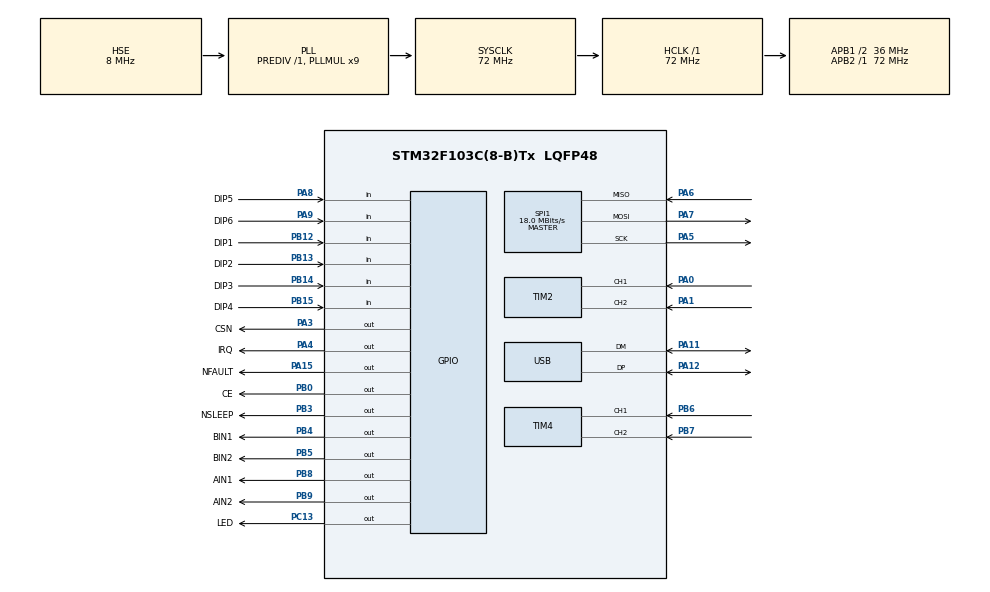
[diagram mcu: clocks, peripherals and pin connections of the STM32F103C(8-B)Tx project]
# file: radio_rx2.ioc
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Mcu.Family=STM32F1
Mcu.Name=STM32F103C(8-B)Tx
Mcu.Package=LQFP48
NVIC.PriorityGroup=NVIC_PRIORITYGROUP_4
NVIC.TIM2_IRQn=true\:0\:0\:false\:false\:true\:true\:true\:true
NVIC.TIM4_IRQn=true\:0\:0\:false\:false\:true\:true\:true\:true
NVIC.USB_LP_CAN1_RX0_IRQn=true\:0\:0\:false\:false\:true\:false\:true\:true
PA0-WKUP.Signal=S_TIM2_CH1_ETR
PA1.Signal=S_TIM2_CH2
PA11.Mode=Device
PA11.Signal=USB_DM
PA12.Mode=Device
PA12.Signal=USB_DP
PA15.GPIO_Label=NFAULT
PA15.Signal=GPIO_Output
PA3.GPIO_Label=CSN
PA3.Signal=GPIO_Output
PA4.GPIO_Label=IRQ
PA4.Signal=GPIO_Output
PA5.Mode=Full_Duplex_Master
PA5.Signal=SPI1_SCK
PA6.Mode=Full_Duplex_Master
PA6.Signal=SPI1_MISO
PA7.Mode=Full_Duplex_Master
PA7.Signal=SPI1_MOSI
PA8.GPIO_Label=DIP5
PA8.Signal=GPIO_Input
PA9.GPIO_Label=DIP6
PA9.Signal=GPIO_Input
PB0.GPIO_Label=CE
PB0.Signal=GPIO_Output
PB12.GPIO_Label=DIP1
PB12.Signal=GPIO_Input
PB13.GPIO_Label=DIP2
PB13.Signal=GPIO_Input
PB14.GPIO_Label=DIP3
PB14.Signal=GPIO_Input
PB15.GPIO_Label=DIP4
PB15.Signal=GPIO_Input
PB3.GPIO_Label=NSLEEP
PB3.Signal=GPIO_Output
PB4.GPIO_Label=BIN1
PB4.Signal=GPIO_Output
PB5.GPIO_Label=BIN2
PB5.Signal=GPIO_Output
PB6.Signal=S_TIM4_CH1
PB7.Signal=S_TIM4_CH2
PB8.GPIO_Label=AIN1
PB8.Signal=GPIO_Output
PB9.GPIO_Label=AIN2
PB9.Signal=GPIO_Output
PC13-TAMPER-RTC.GPIO_Label=LED
PC13-TAMPER-RTC.Signal=GPIO_Output
PD0-OSC_IN.Mode=HSE-External-Oscillator
PD0-OSC_IN.Signal=RCC_OSC_IN
PD1-OSC_OUT.Mode=HSE-External-Oscillator
PD1-OSC_OUT.Signal=RCC_OSC_OUT
ProjectManager.HeapSize=0x200
ProjectManager.StackSize=0x400
ProjectManager.TargetToolchain=STM32CubeIDE
RCC.AHBFreq_Value=72000000
RCC.APB1CLKDivider=RCC_HCLK_DIV2
RCC.APB1Freq_Value=36000000
RCC.APB1TimFreq_Value=72000000
RCC.APB2Freq_Value=72000000
RCC.APB2TimFreq_Value=72000000
RCC.HCLKFreq_Value=72000000
RCC.PLLMUL=RCC_PLL_MUL9
RCC.SYSCLKFreq_VALUE=72000000
RCC.SYSCLKSource=RCC_SYSCLKSOURCE_PLLCLK
RCC.USBFreq_Value=48000000
RCC.USBPrescaler=RCC_USBCLKSOURCE_PLL_DIV1_5
SH.S_TIM2_CH1_ETR.0=TIM2_CH1,Encoder_Interface
SH.S_TIM2_CH2.0=TIM2_CH2,Encoder_Interface
SH.S_TIM4_CH1.0=TIM4_CH1,Encoder_Interface
SH.S_TIM4_CH2.0=TIM4_CH2,Encoder_Interface
SPI1.BaudRatePrescaler=SPI_BAUDRATEPRESCALER_4
SPI1.CalculateBaudRate=18.0 MBits/s
SPI1.Direction=SPI_DIRECTION_2LINES
SPI1.Mode=SPI_MODE_MASTER
SPI1.VirtualType=VM_MASTER
TIM2.EncoderMode=TIM_ENCODERMODE_TI12
TIM2.IC1Polarity=TIM_ICPOLARITY_FALLING
TIM2.IC2Polarity=TIM_ICPOLARITY_FALLING
TIM4.EncoderMode=TIM_ENCODERMODE_TI12
TIM4.IC1Polarity=TIM_ICPOLARITY_FALLING
TIM4.IC2Polarity=TIM_ICPOLARITY_FALLING
USB_DEVICE.CLASS_NAME_FS=CDC
USB_DEVICE.VirtualMode=Cdc
USB_DEVICE.VirtualModeFS=Cdc_FS
VP_USB_DEVICE_VS_USB_DEVICE_CDC_FS.Mode=CDC_FS
board=custom

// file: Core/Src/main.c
/* USER CODE BEGIN Header */
/**
  ******************************************************************************
  * @file           : main.c
  * @brief          : Main program body
  ******************************************************************************
  * @attention
  *
  * Copyright (c) 2023 STMicroelectronics.
  * All rights reserved.
  *
  * This software is licensed under terms that can be found in the LICENSE file
  * in the root directory of this software component.
  * If no LICENSE file comes with this software, it is provided AS-IS.
  *
  ******************************************************************************
  */
/* USER CODE END Header */
#include "main.h"
#include "usb_device.h"

/* USER CODE BEGIN Includes */
#include "nrf24l01.h"
#include "string.h"
#include "usbd_cdc_if.h"
#include "stdio.h"
/* USER CODE END Includes */

/* USER CODE BEGIN PTD */
#define PAYLOAD				22
/* USER CODE END PTD */

SPI_HandleTypeDef hspi1;

TIM_HandleTypeDef htim2;
TIM_HandleTypeDef htim4;

/* USER CODE BEGIN PV */
nrf24 nrfRx;

uint8_t rxAddr1[] = { 0xEA, 0xDD, 0xCC, 0xBB, 0xAA };
uint8_t rxAddr2[] = { 0xEB, 0xDD, 0xCC, 0xBB, 0xAA };
uint8_t rxAddr3[] = { 0xEC, 0xDD, 0xCC, 0xBB, 0xAA };
uint8_t rxAddr4[] = { 0xED, 0xDD, 0xCC, 0xBB, 0xAA };
uint8_t rxAddr5[] = { 0xEE, 0xDD, 0xCC, 0xBB, 0xAA };
uint8_t rxAddr6[] = { 0xEF, 0xDD, 0xCC, 0xBB, 0xAA };
uint8_t rxData[PAYLOAD];

/* USER CODE END PV */

void SystemClock_Config(void);
static void MX_GPIO_Init(void);
static void MX_SPI1_Init(void);
static void MX_TIM2_Init(void);
static void MX_TIM4_Init(void);
/* USER CODE BEGIN PFP */
void readData(void);
/* USER CODE END PFP */

int main(void)
{

  /* MCU Configuration--------------------------------------------------------*/

  /* Reset of all peripherals, Initializes the Flash interface and the Systick. */
  HAL_Init();

  /* Configure the system clock */
  SystemClock_Config();

  /* Initialize all configured peripherals */
  MX_GPIO_Init();
  MX_SPI1_Init();
  MX_USB_DEVICE_Init();
  MX_TIM2_Init();
  MX_TIM4_Init();
  /* USER CODE BEGIN 2 */
	nrfRx.CE_port = CE_GPIO_Port;
	nrfRx.CE_pin = CE_Pin;
	nrfRx.CSN_port = CSN_GPIO_Port;
	nrfRx.CSN_pin = CSN_Pin;
	nrfRx.IRQ_port = IRQ_GPIO_Port;
	nrfRx.IRQ_pin = IRQ_Pin;
	nrfRx.hSPIx = &hspi1;

	nrf24_init(&nrfRx);
	nrf24_setDataRate(&nrfRx, _250kbs);
	nrf24_setPALevel(&nrfRx, high);

	nrf24_setRxPipe(&nrfRx, rxAddr1, 0, PAYLOAD);
	nrf24_setRxPipe(&nrfRx, rxAddr2, 1, PAYLOAD);
	nrf24_setRxPipe(&nrfRx, rxAddr4, 2, PAYLOAD);
	nrf24_setRxPipe(&nrfRx, rxAddr3, 3, PAYLOAD);
	nrf24_setMode(&nrfRx, rxMode);
  /* USER CODE END 2 */

  /* Infinite loop */
  while (1)
  {

    /* USER CODE BEGIN 3 */
		for (int i = 0; i < 4; i++) {
			if (isDataAvailable(&nrfRx, i) == 1) readData();
		}
  }
  /* USER CODE END 3 */
}

void SystemClock_Config(void)
{
  RCC_OscInitTypeDef RCC_OscInitStruct = {0};
  RCC_ClkInitTypeDef RCC_ClkInitStruct = {0};
  RCC_PeriphCLKInitTypeDef PeriphClkInit = {0};

  /** Initializes the RCC Oscillators according to the specified parameters
  * in the RCC_OscInitTypeDef structure.
  */
  RCC_OscInitStruct.OscillatorType = RCC_OSCILLATORTYPE_HSE;
  RCC_OscInitStruct.HSEState = RCC_HSE_ON;
  RCC_OscInitStruct.HSEPredivValue = RCC_HSE_PREDIV_DIV1;
  RCC_OscInitStruct.HSIState = RCC_HSI_ON;
  RCC_OscInitStruct.PLL.PLLState = RCC_PLL_ON;
  RCC_OscInitStruct.PLL.PLLSource = RCC_PLLSOURCE_HSE;
  RCC_OscInitStruct.PLL.PLLMUL = RCC_PLL_MUL9;
  if (HAL_RCC_OscConfig(&RCC_OscInitStruct) != HAL_OK)
  {
    Error_Handler();
  }

  /** Initializes the CPU, AHB and APB buses clocks
  */
  RCC_ClkInitStruct.ClockType = RCC_CLOCKTYPE_HCLK|RCC_CLOCKTYPE_SYSCLK
                              |RCC_CLOCKTYPE_PCLK1|RCC_CLOCKTYPE_PCLK2;
  RCC_ClkInitStruct.SYSCLKSource = RCC_SYSCLKSOURCE_PLLCLK;
  RCC_ClkInitStruct.AHBCLKDivider = RCC_SYSCLK_DIV1;
  RCC_ClkInitStruct.APB1CLKDivider = RCC_HCLK_DIV2;
  RCC_ClkInitStruct.APB2CLKDivider = RCC_HCLK_DIV1;

  if (HAL_RCC_ClockConfig(&RCC_ClkInitStruct, FLASH_LATENCY_2) != HAL_OK)
  {
    Error_Handler();
  }
  PeriphClkInit.PeriphClockSelection = RCC_PERIPHCLK_USB;
  PeriphClkInit.UsbClockSelection = RCC_USBCLKSOURCE_PLL_DIV1_5;
  if (HAL_RCCEx_PeriphCLKConfig(&PeriphClkInit) != HAL_OK)
  {
    Error_Handler();
  }
}

static void MX_SPI1_Init(void)
{

  /* SPI1 parameter configuration*/
  hspi1.Instance = SPI1;
  hspi1.Init.Mode = SPI_MODE_MASTER;
  hspi1.Init.Direction = SPI_DIRECTION_2LINES;
  hspi1.Init.DataSize = SPI_DATASIZE_8BIT;
  hspi1.Init.CLKPolarity = SPI_POLARITY_LOW;
  hspi1.Init.CLKPhase = SPI_PHASE_1EDGE;
  hspi1.Init.NSS = SPI_NSS_SOFT;
  hspi1.Init.BaudRatePrescaler = SPI_BAUDRATEPRESCALER_4;
  hspi1.Init.FirstBit = SPI_FIRSTBIT_MSB;
  hspi1.Init.TIMode = SPI_TIMODE_DISABLE;
  hspi1.Init.CRCCalculation = SPI_CRCCALCULATION_DISABLE;
  hspi1.Init.CRCPolynomial = 10;
  if (HAL_SPI_Init(&hspi1) != HAL_OK)
  {
    Error_Handler();
  }

}

static void MX_TIM2_Init(void)
{

  TIM_Encoder_InitTypeDef sConfig = {0};
  TIM_MasterConfigTypeDef sMasterConfig = {0};

  htim2.Instance = TIM2;
  htim2.Init.Prescaler = 0;
  htim2.Init.CounterMode = TIM_COUNTERMODE_UP;
  htim2.Init.Period = 65535;
  htim2.Init.ClockDivision = TIM_CLOCKDIVISION_DIV1;
  htim2.Init.AutoReloadPreload = TIM_AUTORELOAD_PRELOAD_DISABLE;
  sConfig.EncoderMode = TIM_ENCODERMODE_TI12;
  sConfig.IC1Polarity = TIM_ICPOLARITY_FALLING;
  sConfig.IC1Selection = TIM_ICSELECTION_DIRECTTI;
  sConfig.IC1Prescaler = TIM_ICPSC_DIV1;
  sConfig.IC1Filter = 0;
  sConfig.IC2Polarity = TIM_ICPOLARITY_FALLING;
  sConfig.IC2Selection = TIM_ICSELECTION_DIRECTTI;
  sConfig.IC2Prescaler = TIM_ICPSC_DIV1;
  sConfig.IC2Filter = 0;
  if (HAL_TIM_Encoder_Init(&htim2, &sConfig) != HAL_OK)
  {
    Error_Handler();
  }
  sMasterConfig.MasterOutputTrigger = TIM_TRGO_RESET;
  sMasterConfig.MasterSlaveMode = TIM_MASTERSLAVEMODE_DISABLE;
  if (HAL_TIMEx_MasterConfigSynchronization(&htim2, &sMasterConfig) != HAL_OK)
  {
    Error_Handler();
  }

}

static void MX_TIM4_Init(void)
{

  TIM_Encoder_InitTypeDef sConfig = {0};
  TIM_MasterConfigTypeDef sMasterConfig = {0};

  htim4.Instance = TIM4;
  htim4.Init.Prescaler = 0;
  htim4.Init.CounterMode = TIM_COUNTERMODE_UP;
  htim4.Init.Period = 65535;
  htim4.Init.ClockDivision = TIM_CLOCKDIVISION_DIV1;
  htim4.Init.AutoReloadPreload = TIM_AUTORELOAD_PRELOAD_DISABLE;
  sConfig.EncoderMode = TIM_ENCODERMODE_TI12;
  sConfig.IC1Polarity = TIM_ICPOLARITY_FALLING;
  sConfig.IC1Selection = TIM_ICSELECTION_DIRECTTI;
  sConfig.IC1Prescaler = TIM_ICPSC_DIV1;
  sConfig.IC1Filter = 0;
  sConfig.IC2Polarity = TIM_ICPOLARITY_FALLING;
  sConfig.IC2Selection = TIM_ICSELECTION_DIRECTTI;
  sConfig.IC2Prescaler = TIM_ICPSC_DIV1;
  sConfig.IC2Filter = 0;
  if (HAL_TIM_Encoder_Init(&htim4, &sConfig) != HAL_OK)
  {
    Error_Handler();
  }
  sMasterConfig.MasterOutputTrigger = TIM_TRGO_RESET;
  sMasterConfig.MasterSlaveMode = TIM_MASTERSLAVEMODE_DISABLE;
  if (HAL_TIMEx_MasterConfigSynchronization(&htim4, &sMasterConfig) != HAL_OK)
  {
    Error_Handler();
  }

}

static void MX_GPIO_Init(void)
{
  GPIO_InitTypeDef GPIO_InitStruct = {0};

  /* GPIO Ports Clock Enable */
  __HAL_RCC_GPIOC_CLK_ENABLE();
  __HAL_RCC_GPIOD_CLK_ENABLE();
  __HAL_RCC_GPIOA_CLK_ENABLE();
  __HAL_RCC_GPIOB_CLK_ENABLE();

  /*Configure GPIO pin Output Level */
  HAL_GPIO_WritePin(LED_GPIO_Port, LED_Pin, GPIO_PIN_RESET);

  /*Configure GPIO pin Output Level */
  HAL_GPIO_WritePin(GPIOA, CSN_Pin|IRQ_Pin|NFAULT_Pin, GPIO_PIN_RESET);

  /*Configure GPIO pin Output Level */
  HAL_GPIO_WritePin(GPIOB, CE_Pin|NSLEEP_Pin|BIN1_Pin|BIN2_Pin
                          |AIN1_Pin|AIN2_Pin, GPIO_PIN_RESET);

  /*Configure GPIO pin : LED_Pin */
  GPIO_InitStruct.Pin = LED_Pin;
  GPIO_InitStruct.Mode = GPIO_MODE_OUTPUT_PP;
  GPIO_InitStruct.Pull = GPIO_NOPULL;
  GPIO_InitStruct.Speed = GPIO_SPEED_FREQ_LOW;
  HAL_GPIO_Init(LED_GPIO_Port, &GPIO_InitStruct);

  /*Configure GPIO pins : CSN_Pin IRQ_Pin NFAULT_Pin */
  GPIO_InitStruct.Pin = CSN_Pin|IRQ_Pin|NFAULT_Pin;
  GPIO_InitStruct.Mode = GPIO_MODE_OUTPUT_PP;
  GPIO_InitStruct.Pull = GPIO_NOPULL;
  GPIO_InitStruct.Speed = GPIO_SPEED_FREQ_LOW;
  HAL_GPIO_Init(GPIOA, &GPIO_InitStruct);

  /*Configure GPIO pins : CE_Pin NSLEEP_Pin BIN1_Pin BIN2_Pin
                           AIN1_Pin AIN2_Pin */
  GPIO_InitStruct.Pin = CE_Pin|NSLEEP_Pin|BIN1_Pin|BIN2_Pin
                          |AIN1_Pin|AIN2_Pin;
  GPIO_InitStruct.Mode = GPIO_MODE_OUTPUT_PP;
  GPIO_InitStruct.Pull = GPIO_NOPULL;
  GPIO_InitStruct.Speed = GPIO_SPEED_FREQ_LOW;
  HAL_GPIO_Init(GPIOB, &GPIO_InitStruct);

  /*Configure GPIO pins : DIP1_Pin DIP2_Pin DIP3_Pin DIP4_Pin */
  GPIO_InitStruct.Pin = DIP1_Pin|DIP2_Pin|DIP3_Pin|DIP4_Pin;
  GPIO_InitStruct.Mode = GPIO_MODE_INPUT;
  GPIO_InitStruct.Pull = GPIO_NOPULL;
  HAL_GPIO_Init(GPIOB, &GPIO_InitStruct);

  /*Configure GPIO pins : DIP5_Pin DIP6_Pin */
  GPIO_InitStruct.Pin = DIP5_Pin|DIP6_Pin;
  GPIO_InitStruct.Mode = GPIO_MODE_INPUT;
  GPIO_InitStruct.Pull = GPIO_NOPULL;
  HAL_GPIO_Init(GPIOA, &GPIO_InitStruct);

}

/* USER CODE BEGIN 4 */
void readData(void) {
	nrf24_Receive(&nrfRx, rxData, PAYLOAD);
	CDC_Transmit_FS(rxData, strlen(rxData));
	HAL_GPIO_TogglePin(LED_GPIO_Port, LED_Pin);
}
/* USER CODE END 4 */

void Error_Handler(void)
{
  __disable_irq();
  while (1)
  {
  }
}
